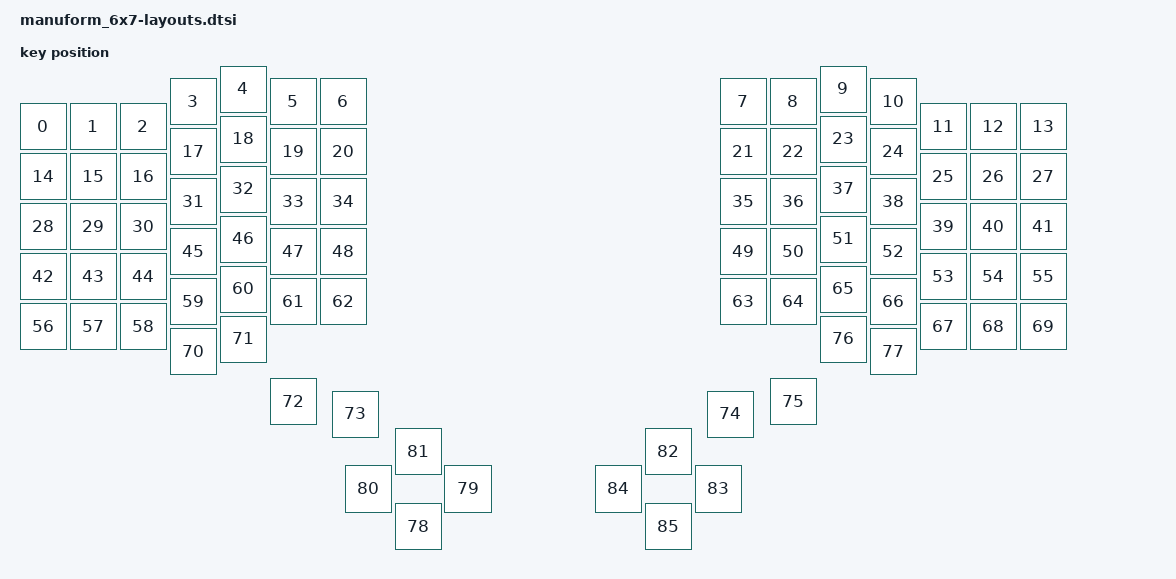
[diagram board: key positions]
#include <physical_layouts.dtsi>

/ {
    physical_layout_manuform_6x7: physical_layout_manuform_6x7 {
        compatible = "zmk,physical-layout";
        display-name = "manuform_6x7";
        keys  //                     w   h    x    y     rot    rx    ry
            = <&key_physical_attrs 100 100    0   75       0     0     0>
            , <&key_physical_attrs 100 100  100   75       0     0     0>
            , <&key_physical_attrs 100 100  200   75       0     0     0>
            , <&key_physical_attrs 100 100  300   25       0     0     0>
            , <&key_physical_attrs 100 100  400    0       0     0     0>
            , <&key_physical_attrs 100 100  500   25       0     0     0>
            , <&key_physical_attrs 100 100  600   25       0     0     0>
            , <&key_physical_attrs 100 100 1400   25       0     0     0>
            , <&key_physical_attrs 100 100 1500   25       0     0     0>
            , <&key_physical_attrs 100 100 1600    0       0     0     0>
            , <&key_physical_attrs 100 100 1700   25       0     0     0>
            , <&key_physical_attrs 100 100 1800   75       0     0     0>
            , <&key_physical_attrs 100 100 1900   75       0     0     0>
            , <&key_physical_attrs 100 100 2000   75       0     0     0>
            , <&key_physical_attrs 100 100    0  175       0     0     0>
            , <&key_physical_attrs 100 100  100  175       0     0     0>
            , <&key_physical_attrs 100 100  200  175       0     0     0>
            , <&key_physical_attrs 100 100  300  125       0     0     0>
            , <&key_physical_attrs 100 100  400  100       0     0     0>
            , <&key_physical_attrs 100 100  500  125       0     0     0>
            , <&key_physical_attrs 100 100  600  125       0     0     0>
            , <&key_physical_attrs 100 100 1400  125       0     0     0>
            , <&key_physical_attrs 100 100 1500  125       0     0     0>
            , <&key_physical_attrs 100 100 1600  100       0     0     0>
            , <&key_physical_attrs 100 100 1700  125       0     0     0>
            , <&key_physical_attrs 100 100 1800  175       0     0     0>
            , <&key_physical_attrs 100 100 1900  175       0     0     0>
            , <&key_physical_attrs 100 100 2000  175       0     0     0>
            , <&key_physical_attrs 100 100    0  275       0     0     0>
            , <&key_physical_attrs 100 100  100  275       0     0     0>
            , <&key_physical_attrs 100 100  200  275       0     0     0>
            , <&key_physical_attrs 100 100  300  225       0     0     0>
            , <&key_physical_attrs 100 100  400  200       0     0     0>
            , <&key_physical_attrs 100 100  500  225       0     0     0>
            , <&key_physical_attrs 100 100  600  225       0     0     0>
            , <&key_physical_attrs 100 100 1400  225       0     0     0>
            , <&key_physical_attrs 100 100 1500  225       0     0     0>
            , <&key_physical_attrs 100 100 1600  200       0     0     0>
            , <&key_physical_attrs 100 100 1700  225       0     0     0>
            , <&key_physical_attrs 100 100 1800  275       0     0     0>
            , <&key_physical_attrs 100 100 1900  275       0     0     0>
            , <&key_physical_attrs 100 100 2000  275       0     0     0>
            , <&key_physical_attrs 100 100    0  375       0     0     0>
            , <&key_physical_attrs 100 100  100  375       0     0     0>
            , <&key_physical_attrs 100 100  200  375       0     0     0>
            , <&key_physical_attrs 100 100  300  325       0     0     0>
            , <&key_physical_attrs 100 100  400  300       0     0     0>
            , <&key_physical_attrs 100 100  500  325       0     0     0>
            , <&key_physical_attrs 100 100  600  325       0     0     0>
            , <&key_physical_attrs 100 100 1400  325       0     0     0>
            , <&key_physical_attrs 100 100 1500  325       0     0     0>
            , <&key_physical_attrs 100 100 1600  300       0     0     0>
            , <&key_physical_attrs 100 100 1700  325       0     0     0>
            , <&key_physical_attrs 100 100 1800  375       0     0     0>
            , <&key_physical_attrs 100 100 1900  375       0     0     0>
            , <&key_physical_attrs 100 100 2000  375       0     0     0>
            , <&key_physical_attrs 100 100    0  475       0     0     0>
            , <&key_physical_attrs 100 100  100  475       0     0     0>
            , <&key_physical_attrs 100 100  200  475       0     0     0>
            , <&key_physical_attrs 100 100  300  425       0     0     0>
            , <&key_physical_attrs 100 100  400  400       0     0     0>
            , <&key_physical_attrs 100 100  500  425       0     0     0>
            , <&key_physical_attrs 100 100  600  425       0     0     0>
            , <&key_physical_attrs 100 100 1400  425       0     0     0>
            , <&key_physical_attrs 100 100 1500  425       0     0     0>
            , <&key_physical_attrs 100 100 1600  400       0     0     0>
            , <&key_physical_attrs 100 100 1700  425       0     0     0>
            , <&key_physical_attrs 100 100 1800  475       0     0     0>
            , <&key_physical_attrs 100 100 1900  475       0     0     0>
            , <&key_physical_attrs 100 100 2000  475       0     0     0>
            , <&key_physical_attrs 100 100  300  525       0     0     0>
            , <&key_physical_attrs 100 100  400  500       0     0     0>
            , <&key_physical_attrs 100 100  500  625       0     0     0>
            , <&key_physical_attrs 100 100  625  650       0     0     0>
            , <&key_physical_attrs 100 100 1375  650       0     0     0>
            , <&key_physical_attrs 100 100 1500  625       0     0     0>
            , <&key_physical_attrs 100 100 1600  500       0     0     0>
            , <&key_physical_attrs 100 100 1700  525       0     0     0>
            , <&key_physical_attrs 100 100  750  875       0     0     0>
            , <&key_physical_attrs 100 100  850  800       0     0     0>
            , <&key_physical_attrs 100 100  650  800       0     0     0>
            , <&key_physical_attrs 100 100  750  725       0     0     0>
            , <&key_physical_attrs 100 100 1250  725       0     0     0>
            , <&key_physical_attrs 100 100 1350  800       0     0     0>
            , <&key_physical_attrs 100 100 1150  800       0     0     0>
            , <&key_physical_attrs 100 100 1250  875       0     0     0>
            ;
    };
};
